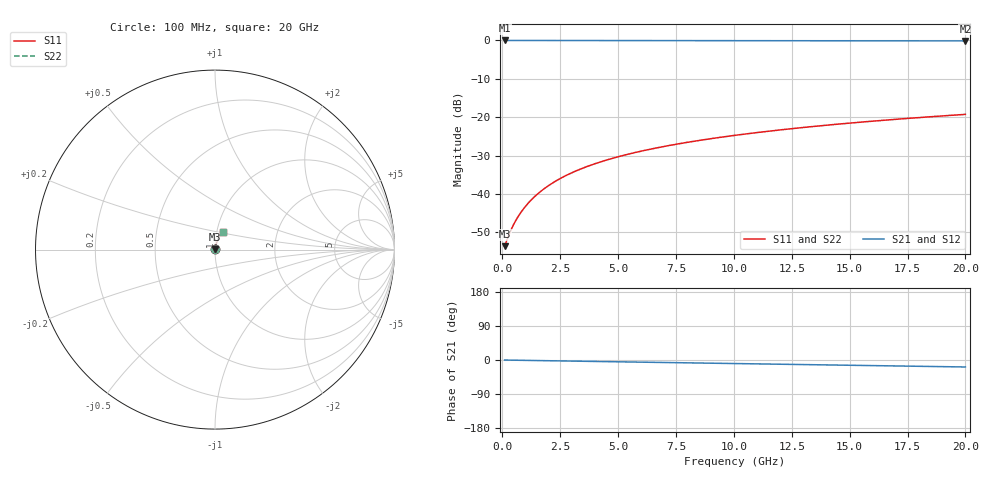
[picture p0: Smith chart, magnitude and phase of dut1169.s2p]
! Touchstone file exported from HFSS 2026.1.0
!  File:  C:/ffzhzh/LocalFiles/Ansys_Project_Files/temp_train_BSMRDL_1169_1783175955_51560.aedt
!  Generated:  10:40:19 PM Jul  4, 2026
!  Design:  BSMRDL
!  Project:  temp_train_BSMRDL_1169_1783175955_51560
! Variables:
!  h_bsmrdl = 5.1um
!  h_ox = 20um
!  h_rdl = 5um
!  h_sub = 80um
!  h_tmrdl = 5um
!  h_tsv = 80um
!  h_via = 3um
!  l_bsmrdl = 308.08um
!  l_sub = 708.08um
!  l_tmrdl = 200um
!  m_sub = 200um
!  pitch = 20.53um
!  r_tsv = 6um
!  s_tmrdl = 10um
!  w_bsmrdl = 11.58um
!  w_sub = 500um
!  w_tmrdl = 12um
!  x_tsv_center1 = 206um
!  x_tsv_center2 = 525.66um
!  x_tsv_center3 = 737.66um
!  x_tsv_center4 = 1057.32um
!  x_tsv_center5 = 1269.32um
!  x_tsv_center6 = 1588.98um
# GHz S MA R 50.000000
! Terminal data exported
! Port[1] = BSM_RDL1_1_T1
! Port[2] = BSM_RDL1_1_T2
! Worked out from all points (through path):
!   200 points, 100 MHz to 20 GHz, reference 50 ohm
!   highest |S21| = -0.02 dB at 100 MHz (marker M1); lowest = -0.1 dB at 20 GHz (marker M2)
!   group delay of S21, straight-line fit = 2.55 ps
!   lowest |S11| = -53.6 dB at 100 MHz (marker M3), VSWR 1.00, Z = 50.2 + j0.0758 ohm
!   |S11| at or under -10 dB: start of sweep to end of sweep
!   |S22| runs from -53.6 to -19.3 dB; largest |S21 - S12| = 6.3e-15
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0.1  0.002094 21.2  0.998 -0.1  0.998 -0.1  0.002094 21.2
! Gamma 0 0 0 0
! Port Impedance 50 0 50 0
0.3  0.003014 44.8  0.9979 -0.3  0.9979 -0.3  0.003014 44.8
0.4  0.003538 51.0  0.9978 -0.4  0.9978 -0.4  0.003538 51.0
0.6  0.004619 59.3  0.9977 -0.6  0.9977 -0.6  0.004619 59.3
0.7  0.005175 62.2  0.9976 -0.7  0.9976 -0.7  0.005175 62.2
0.9  0.006316 66.5  0.9975 -0.9  0.9975 -0.9  0.006316 66.5
1.1  0.007485 69.5  0.9975 -1.1  0.9975 -1.1  0.007485 69.5
1.3  0.008672 71.6  0.9974 -1.3  0.9974 -1.3  0.008672 71.6
1.7  0.01107 74.3  0.9972 -1.6  0.9972 -1.6  0.01107 74.3
2.2  0.01409 76.1  0.997 -2.1  0.997 -2.1  0.01409 76.1
2.8  0.0177 77.0  0.9967 -2.7  0.9967 -2.7  0.0177 77.0
3.5  0.02186 77.4  0.9963 -3.4  0.9963 -3.4  0.02186 77.4
4.2  0.02595 77.4  0.9958 -4.0  0.9958 -4.0  0.02595 77.4
5  0.03054 77.1  0.9952 -4.8  0.9952 -4.8  0.03054 77.1
5.9  0.03561 76.6  0.9946 -5.6  0.9946 -5.6  0.03561 76.6
6.8  0.04059 76.1  0.9939 -6.4  0.9939 -6.4  0.04059 76.1
8.3  0.04875 75.2  0.9929 -7.8  0.9929 -7.8  0.04875 75.2
10.1  0.05835 74.0  0.9916 -9.5  0.9916 -9.5  0.05835 74.0
11.7  0.06675 72.8  0.9905 -10.9  0.9905 -10.9  0.06675 72.8
13.4  0.07558 71.6  0.9894 -12.5  0.9894 -12.5  0.07558 71.6
16.7  0.09241 69.2  0.987 -15.4  0.987 -15.4  0.09241 69.1
20  0.1088 66.6  0.9845 -18.4  0.9845 -18.4  0.1088 66.6
